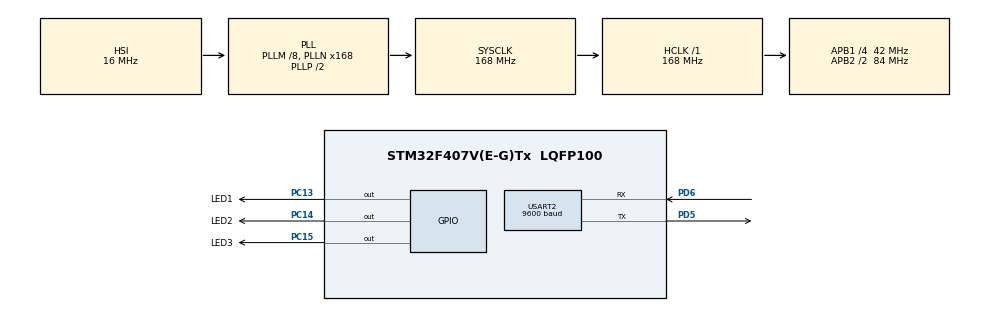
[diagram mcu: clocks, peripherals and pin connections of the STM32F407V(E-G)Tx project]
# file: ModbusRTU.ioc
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Mcu.Family=STM32F4
Mcu.Name=STM32F407V(E-G)Tx
Mcu.Package=LQFP100
NVIC.PriorityGroup=NVIC_PRIORITYGROUP_4
NVIC.TIM6_DAC_IRQn=true\:0\:0\:false\:false\:true\:true\:true\:true
NVIC.USART2_IRQn=true\:0\:0\:false\:false\:true\:true\:true\:true
PA13.Mode=Serial_Wire
PA13.Signal=SYS_JTMS-SWDIO
PA14.Mode=Serial_Wire
PA14.Signal=SYS_JTCK-SWCLK
PC13-ANTI_TAMP.GPIO_Label=LED1
PC13-ANTI_TAMP.PinState=GPIO_PIN_RESET
PC13-ANTI_TAMP.Signal=GPIO_Output
PC14-OSC32_IN.GPIO_Label=LED2
PC14-OSC32_IN.PinState=GPIO_PIN_RESET
PC14-OSC32_IN.Signal=GPIO_Output
PC15-OSC32_OUT.GPIO_Label=LED3
PC15-OSC32_OUT.PinState=GPIO_PIN_RESET
PC15-OSC32_OUT.Signal=GPIO_Output
PD5.Mode=Asynchronous
PD5.Signal=USART2_TX
PD6.Mode=Asynchronous
PD6.Signal=USART2_RX
ProjectManager.HeapSize=0x200
ProjectManager.StackSize=0x400
ProjectManager.TargetToolchain=STM32CubeIDE
RCC.48MHZClocksFreq_Value=84000000
RCC.AHBFreq_Value=168000000
RCC.APB1CLKDivider=RCC_HCLK_DIV4
RCC.APB1Freq_Value=42000000
RCC.APB1TimFreq_Value=84000000
RCC.APB2CLKDivider=RCC_HCLK_DIV2
RCC.APB2Freq_Value=84000000
RCC.APB2TimFreq_Value=168000000
RCC.CortexFreq_Value=168000000
RCC.HCLKFreq_Value=168000000
RCC.HSE_VALUE=25000000
RCC.HSI_VALUE=16000000
RCC.LSE_VALUE=32768
RCC.PLLM=8
RCC.PLLN=168
RCC.SYSCLKFreq_VALUE=168000000
RCC.SYSCLKSource=RCC_SYSCLKSOURCE_PLLCLK
RCC.VCOOutputFreq_Value=336000000
TIM6.Period=39
TIM6.Prescaler=8399
TIM7.Period=59
TIM7.Prescaler=8399
USART2.BaudRate=9600
USART2.VirtualMode=VM_ASYNC
VP_TIM6_VS_ClockSourceINT.Mode=Enable_Timer
VP_TIM7_VS_ClockSourceINT.Mode=Enable_Timer
board=custom

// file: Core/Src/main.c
/* USER CODE BEGIN Header */
/**
  ******************************************************************************
  * @file           : main.c
  * @brief          : Main program body
  ******************************************************************************
  * @attention
  *
  * Copyright (c) 2026 STMicroelectronics.
  * All rights reserved.
  *
  * This software is licensed under terms that can be found in the LICENSE file
  * in the root directory of this software component.
  * If no LICENSE file comes with this software, it is provided AS-IS.
  *
  ******************************************************************************
  */
/* USER CODE END Header */
#include "main.h"

/* USER CODE BEGIN Includes */
#include "mb.h"
#include "mbport.h"
#include "port.h"
/* USER CODE END Includes */

/* USER CODE BEGIN PD */
#define REG_HOLDING_START  1
#define REG_HOLDING_NREGS  10
/* USER CODE END PD */

/* USER CODE BEGIN PM */
void Update_LEDs(void);
/* USER CODE END PM */

TIM_HandleTypeDef htim6;
TIM_HandleTypeDef htim7;
UART_HandleTypeDef huart2;

/* USER CODE BEGIN PV */

USHORT usHoldingRegs[REG_HOLDING_NREGS];

/* USER CODE END PV */

void SystemClock_Config(void);
static void MX_GPIO_Init(void);
static void MX_USART2_UART_Init(void);
static void MX_TIM6_Init(void);
static void MX_TIM7_Init(void);

/* USER CODE BEGIN 0 */
eMBErrorCode eMBRegHoldingCB(
    UCHAR *pucRegBuffer,
    USHORT usAddress,
    USHORT usNRegs,
    eMBRegisterMode eMode)
{
    USHORT i;

    /* Modbus Address از 1 شروع می‌شود */
    if (usAddress < REG_HOLDING_START)
        return MB_ENOREG;

    usAddress -= REG_HOLDING_START;

    if ((usAddress + usNRegs) > REG_HOLDING_NREGS)
        return MB_ENOREG;

    /* ===== READ (FC03) ===== */
    if (eMode == MB_REG_READ)
    {
        for (i = 0; i < usNRegs; i++)
        {
            *pucRegBuffer++ = usHoldingRegs[usAddress + i] >> 8;
            *pucRegBuffer++ = usHoldingRegs[usAddress + i] & 0xFF;
        }
    }

    /* ===== WRITE (FC06 / FC16) ===== */
    else if (eMode == MB_REG_WRITE)
    {
        for (i = 0; i < usNRegs; i++)
        {
            usHoldingRegs[usAddress + i]  = (*pucRegBuffer++) << 8;
            usHoldingRegs[usAddress + i] |= (*pucRegBuffer++);
        }

        Update_LEDs();   // اعمال روی سخت‌افزار
    }

    return MB_ENOERR;
}

void Update_LEDs(void)
{
    HAL_GPIO_WritePin(GPIOC, GPIO_PIN_13,
        usHoldingRegs[0] ? GPIO_PIN_SET : GPIO_PIN_RESET);

    HAL_GPIO_WritePin(GPIOC, GPIO_PIN_14,
        usHoldingRegs[1] ? GPIO_PIN_SET : GPIO_PIN_RESET);

    HAL_GPIO_WritePin(GPIOC, GPIO_PIN_15,
        usHoldingRegs[2] ? GPIO_PIN_SET : GPIO_PIN_RESET);
}

eMBErrorCode eMBRegCoilsCB(
    UCHAR *pucRegBuffer,
    USHORT usAddress,
    USHORT usNCoils,
    eMBRegisterMode eMode)
{
    return MB_ENOREG;
}

eMBErrorCode eMBRegDiscreteCB(
    UCHAR *pucRegBuffer,
    USHORT usAddress,
    USHORT usNDiscrete)
{
    return MB_ENOREG;
}

eMBErrorCode eMBRegInputCB(
    UCHAR *pucRegBuffer,
    USHORT usAddress,
    USHORT usNRegs)
{
    return MB_ENOREG;
}

/* USER CODE END 0 */

int main(void)
{

  /* MCU Configuration--------------------------------------------------------*/

  /* Reset of all peripherals, Initializes the Flash interface and the Systick. */
  HAL_Init();

  /* Configure the system clock */
  SystemClock_Config();

  /* Initialize all configured peripherals */
  MX_GPIO_Init();
  MX_USART2_UART_Init();
  MX_TIM6_Init();
  MX_TIM7_Init();
  /* USER CODE BEGIN 2 */
  eMBInit(MB_RTU, 1, 0, 9600, MB_PAR_NONE);
  eMBEnable();

  /* USER CODE END 2 */

  /* Infinite loop */
  /* USER CODE BEGIN WHILE */
  while (1)
  {
	  eMBPoll();
    /* USER CODE END WHILE */

  }
}

void SystemClock_Config(void)
{
  RCC_OscInitTypeDef RCC_OscInitStruct = {0};
  RCC_ClkInitTypeDef RCC_ClkInitStruct = {0};

  /** Configure the main internal regulator output voltage
  */
  __HAL_RCC_PWR_CLK_ENABLE();
  __HAL_PWR_VOLTAGESCALING_CONFIG(PWR_REGULATOR_VOLTAGE_SCALE1);

  /** Initializes the RCC Oscillators according to the specified parameters
  * in the RCC_OscInitTypeDef structure.
  */
  RCC_OscInitStruct.OscillatorType = RCC_OSCILLATORTYPE_HSI;
  RCC_OscInitStruct.HSIState = RCC_HSI_ON;
  RCC_OscInitStruct.HSICalibrationValue = RCC_HSICALIBRATION_DEFAULT;
  RCC_OscInitStruct.PLL.PLLState = RCC_PLL_ON;
  RCC_OscInitStruct.PLL.PLLSource = RCC_PLLSOURCE_HSI;
  RCC_OscInitStruct.PLL.PLLM = 8;
  RCC_OscInitStruct.PLL.PLLN = 168;
  RCC_OscInitStruct.PLL.PLLP = RCC_PLLP_DIV2;
  RCC_OscInitStruct.PLL.PLLQ = 4;
  if (HAL_RCC_OscConfig(&RCC_OscInitStruct) != HAL_OK)
  {
    Error_Handler();
  }

  /** Initializes the CPU, AHB and APB buses clocks
  */
  RCC_ClkInitStruct.ClockType = RCC_CLOCKTYPE_HCLK|RCC_CLOCKTYPE_SYSCLK
                              |RCC_CLOCKTYPE_PCLK1|RCC_CLOCKTYPE_PCLK2;
  RCC_ClkInitStruct.SYSCLKSource = RCC_SYSCLKSOURCE_PLLCLK;
  RCC_ClkInitStruct.AHBCLKDivider = RCC_SYSCLK_DIV1;
  RCC_ClkInitStruct.APB1CLKDivider = RCC_HCLK_DIV4;
  RCC_ClkInitStruct.APB2CLKDivider = RCC_HCLK_DIV2;

  if (HAL_RCC_ClockConfig(&RCC_ClkInitStruct, FLASH_LATENCY_5) != HAL_OK)
  {
    Error_Handler();
  }
}

static void MX_TIM6_Init(void)
{

  TIM_MasterConfigTypeDef sMasterConfig = {0};

  htim6.Instance = TIM6;
  htim6.Init.Prescaler = 8399;
  htim6.Init.CounterMode = TIM_COUNTERMODE_UP;
  htim6.Init.Period = 39;
  htim6.Init.AutoReloadPreload = TIM_AUTORELOAD_PRELOAD_DISABLE;
  if (HAL_TIM_Base_Init(&htim6) != HAL_OK)
  {
    Error_Handler();
  }
  sMasterConfig.MasterOutputTrigger = TIM_TRGO_RESET;
  sMasterConfig.MasterSlaveMode = TIM_MASTERSLAVEMODE_DISABLE;
  if (HAL_TIMEx_MasterConfigSynchronization(&htim6, &sMasterConfig) != HAL_OK)
  {
    Error_Handler();
  }

}

static void MX_TIM7_Init(void)
{

  TIM_MasterConfigTypeDef sMasterConfig = {0};

  htim7.Instance = TIM7;
  htim7.Init.Prescaler = 8399;
  htim7.Init.CounterMode = TIM_COUNTERMODE_UP;
  htim7.Init.Period = 59;
  htim7.Init.AutoReloadPreload = TIM_AUTORELOAD_PRELOAD_DISABLE;
  if (HAL_TIM_Base_Init(&htim7) != HAL_OK)
  {
    Error_Handler();
  }
  sMasterConfig.MasterOutputTrigger = TIM_TRGO_RESET;
  sMasterConfig.MasterSlaveMode = TIM_MASTERSLAVEMODE_DISABLE;
  if (HAL_TIMEx_MasterConfigSynchronization(&htim7, &sMasterConfig) != HAL_OK)
  {
    Error_Handler();
  }

}

static void MX_USART2_UART_Init(void)
{

  huart2.Instance = USART2;
  huart2.Init.BaudRate = 9600;
  huart2.Init.WordLength = UART_WORDLENGTH_8B;
  huart2.Init.StopBits = UART_STOPBITS_1;
  huart2.Init.Parity = UART_PARITY_NONE;
  huart2.Init.Mode = UART_MODE_TX_RX;
  huart2.Init.HwFlowCtl = UART_HWCONTROL_NONE;
  huart2.Init.OverSampling = UART_OVERSAMPLING_16;
  if (HAL_UART_Init(&huart2) != HAL_OK)
  {
    Error_Handler();
  }

}

static void MX_GPIO_Init(void)
{
  GPIO_InitTypeDef GPIO_InitStruct = {0};

  /* GPIO Ports Clock Enable */
  __HAL_RCC_GPIOC_CLK_ENABLE();
  __HAL_RCC_GPIOA_CLK_ENABLE();
  __HAL_RCC_GPIOD_CLK_ENABLE();

  /*Configure GPIO pin Output Level */
  HAL_GPIO_WritePin(GPIOC, LED1_Pin|LED2_Pin|LED3_Pin, GPIO_PIN_RESET);

  /*Configure GPIO pins : LED1_Pin LED2_Pin LED3_Pin */
  GPIO_InitStruct.Pin = LED1_Pin|LED2_Pin|LED3_Pin;
  GPIO_InitStruct.Mode = GPIO_MODE_OUTPUT_PP;
  GPIO_InitStruct.Pull = GPIO_NOPULL;
  GPIO_InitStruct.Speed = GPIO_SPEED_FREQ_LOW;
  HAL_GPIO_Init(GPIOC, &GPIO_InitStruct);

}

void Error_Handler(void)
{
  __disable_irq();
  while (1)
  {
  }
}
